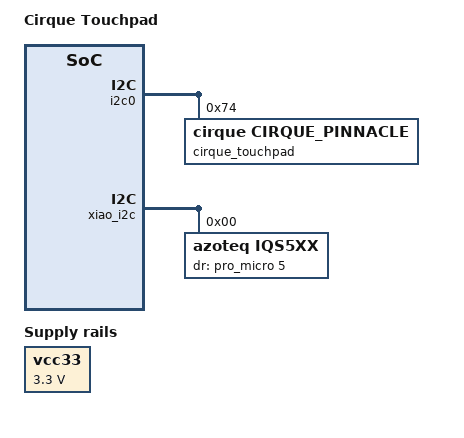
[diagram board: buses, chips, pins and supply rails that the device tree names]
/*
 * Copyright (c) 2020 Pete Johanson
 *
 * SPDX-License-Identifier: MIT
 */

#include <dt-bindings/zmk/matrix_transform.h>

&xiao_i2c {
    status = "okay";
    dr-gpios = <&xiao 3 GPIO_ACTIVE_LOW>;

    iqs5xx: iqs5xx@0 {
        compatible = "azoteq,iqs5xx";
        reg = <0>;
        status = "okay";
        dr-gpios = <&pro_micro 5 (GPIO_ACTIVE_HIGH)>;

        sensitivity = "4x";
        sleep;
        no-taps;
    };
};


/ {
    model = "Cirque Touchpad";
    compatible = "cirque,cirque_touchpad";

    chosen {
        bootargs = "console=ttyUSB0,115200";  // Example console settings
    };

    i2c0: i2c@0 {
        compatible = "i2c-gpio";
        #address-cells = <1>;
        #size-cells = <0>;

        clock-supply = <&vcc33>; // Supply for I2C

        cirque_touchpad@74 {
            compatible = "cirque,cirque_pinnacle";
            reg = <0x74>; // I2C address, can be adjusted based on the actual device
            interrupt-parent = <& gpio1>;
            interrupts = <9>; // Change this to the GPIO pin used for interrupts
            pinctrl-names = "default";
            pinctrl-0 = <&cirque_touchpad_int>;

            // Optional properties: Adjust based on your specific hardware
            cirque_x_invert = <0>; // 0 or 1 depending on X axis inversion
            cirque_y_invert = <0>; // 0 or 1 depending on Y axis inversion
            no_taps = <0>; // 0 to enable taps, 1 to disable
            no_secondary_tap = <0>; // 0 to enable secondary tap, 1 to disable
            x_axis_z_min = <5>; // Customize sensitivity
            y_axis_z_min = <4>; // Customize sensitivity
        };
    };

    gpio1: gpio@500 {
        compatible = "gpio";
        gpio-controller;
        #gpio-cells = <2>;
        // Add necessary GPIO settings for the pins utilized
    };

    // Power supply settings
    vcc33: regulator@1 {
        compatible = "regulator-fixed";
        reg = <1>;
        regulator-name = "3.3V"; // power line for the device
        regulator-min-microvolt = <3300000>;
        regulator-max-microvolt = <3300000>;
    };
};
```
